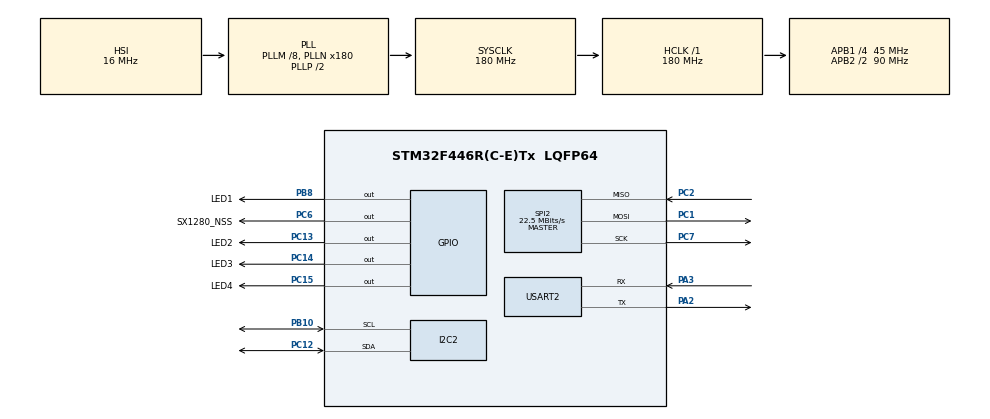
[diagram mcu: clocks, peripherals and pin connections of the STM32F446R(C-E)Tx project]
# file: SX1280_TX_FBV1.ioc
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Mcu.Family=STM32F4
Mcu.Name=STM32F446R(C-E)Tx
Mcu.Package=LQFP64
NVIC.PriorityGroup=NVIC_PRIORITYGROUP_4
PA13.Mode=Serial_Wire
PA13.Signal=SYS_JTMS-SWDIO
PA14.Mode=Serial_Wire
PA14.Signal=SYS_JTCK-SWCLK
PA2.Mode=Asynchronous
PA2.Signal=USART2_TX
PA3.Mode=Asynchronous
PA3.Signal=USART2_RX
PB10.GPIO_Pu=GPIO_PULLUP
PB10.Mode=I2C
PB10.Signal=I2C2_SCL
PB8.GPIO_Label=LED1
PB8.PinState=GPIO_PIN_SET
PB8.Signal=GPIO_Output
PC1.Mode=Full_Duplex_Master
PC1.Signal=SPI2_MOSI
PC12.GPIO_Pu=GPIO_PULLUP
PC12.Mode=I2C
PC12.Signal=I2C2_SDA
PC13.GPIO_Label=LED2
PC13.PinState=GPIO_PIN_SET
PC13.Signal=GPIO_Output
PC14-OSC32_IN.GPIO_Label=LED3
PC14-OSC32_IN.PinState=GPIO_PIN_SET
PC14-OSC32_IN.Signal=GPIO_Output
PC15-OSC32_OUT.GPIO_Label=LED4
PC15-OSC32_OUT.PinState=GPIO_PIN_SET
PC15-OSC32_OUT.Signal=GPIO_Output
PC2.Mode=Full_Duplex_Master
PC2.Signal=SPI2_MISO
PC6.GPIO_Label=SX1280_NSS
PC6.GPIO_Speed=GPIO_SPEED_FREQ_VERY_HIGH
PC6.PinState=GPIO_PIN_SET
PC6.Signal=GPIO_Output
PC7.Mode=Full_Duplex_Master
PC7.Signal=SPI2_SCK
PH0-OSC_IN.Mode=HSE-External-Oscillator
PH0-OSC_IN.Signal=RCC_OSC_IN
PH1-OSC_OUT.Mode=HSE-External-Oscillator
PH1-OSC_OUT.Signal=RCC_OSC_OUT
ProjectManager.HeapSize=0x2000
ProjectManager.StackSize=0x4000
ProjectManager.TargetToolchain=STM32CubeIDE
RCC.AHBFreq_Value=180000000
RCC.APB1CLKDivider=RCC_HCLK_DIV4
RCC.APB1Freq_Value=45000000
RCC.APB1TimFreq_Value=90000000
RCC.APB2CLKDivider=RCC_HCLK_DIV2
RCC.APB2Freq_Value=90000000
RCC.APB2TimFreq_Value=180000000
RCC.CortexFreq_Value=180000000
RCC.HCLKFreq_Value=180000000
RCC.HSE_VALUE=16000000
RCC.PLLM=8
RCC.PLLN=180
RCC.SYSCLKFreq_VALUE=180000000
RCC.SYSCLKSource=RCC_SYSCLKSOURCE_PLLCLK
RCC.USBFreq_Value=180000000
RCC.VCOOutputFreq_Value=360000000
SPI2.CalculateBaudRate=22.5 MBits/s
SPI2.Direction=SPI_DIRECTION_2LINES
SPI2.Mode=SPI_MODE_MASTER
SPI2.VirtualType=VM_MASTER
TIM1.Prescaler=179
USART2.VirtualMode=VM_ASYNC
VP_TIM1_VS_ClockSourceINT.Mode=Internal
board=custom

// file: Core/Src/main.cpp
/* USER CODE BEGIN Header */
/**
  ******************************************************************************
  * @file           : main.c
  * @brief          : Main program body
  ******************************************************************************
  * @attention
  *
  * Copyright (c) 2023 STMicroelectronics.
  * All rights reserved.
  *
  * This software is licensed under terms that can be found in the LICENSE file
  * in the root directory of this software component.
  * If no LICENSE file comes with this software, it is provided AS-IS.
  *
  ******************************************************************************
  */
/* USER CODE END Header */
#include "main.h"

/* USER CODE BEGIN Includes */
#include "SX128x_formal_board.h"
/* USER CODE END Includes */

I2C_HandleTypeDef hi2c2;

SPI_HandleTypeDef hspi2;

TIM_HandleTypeDef htim1;

UART_HandleTypeDef huart2;

/* USER CODE BEGIN PV */
SX128x_formal_board sx1280;
int irq_timeout_times = 0;
/* USER CODE END PV */

void SystemClock_Config(void);
static void MX_GPIO_Init(void);
static void MX_I2C2_Init(void);
static void MX_SPI2_Init(void);
static void MX_TIM1_Init(void);
static void MX_USART2_UART_Init(void);
/* USER CODE BEGIN PFP */
static void SPI1_TRANSCEIVER(uint8_t* tx, uint8_t* rx, uint8_t lengh)
{
	uint8_t temp;
	do
	{
		HAL_I2C_Mem_Read (&hi2c2, 0x78, 0x00, I2C_MEMADD_SIZE_8BIT, &temp, 1, 10);
	}
	while(temp & 0x04);
	HAL_GPIO_WritePin(SX1280_NSS_GPIO_Port, SX1280_NSS_Pin, GPIO_PIN_RESET);
//	for (int i = 0; i < 1000; i ++);
	HAL_Delay(10);
	HAL_SPI_TransmitReceive(&hspi2, tx, rx, lengh, 10);
	HAL_GPIO_WritePin(SX1280_NSS_GPIO_Port, SX1280_NSS_Pin, GPIO_PIN_SET);
}
/* USER CODE END PFP */

int main(void)
{

  /* MCU Configuration--------------------------------------------------------*/

  /* Reset of all peripherals, Initializes the Flash interface and the Systick. */
  HAL_Init();

  /* Configure the system clock */
  SystemClock_Config();

  /* Initialize all configured peripherals */
  MX_GPIO_Init();
  MX_I2C2_Init();
  MX_SPI2_Init();
  MX_TIM1_Init();
  MX_USART2_UART_Init();
  /* USER CODE BEGIN 2 */
  HAL_TIM_Base_Start(&htim1);

//  sx1280.CommonTranceiverSetting();

  HAL_StatusTypeDef rv;

  uint8_t rx[10] = {};
  uint8_t tx[10] = {};

  tx[0] = 0xF7;
  rv = HAL_I2C_Mem_Write(&hi2c2, 0x78, 0x03, I2C_MEMADD_SIZE_8BIT, tx, 1, 10);
  rv = HAL_I2C_Mem_Read (&hi2c2, 0x78, 0x00, I2C_MEMADD_SIZE_8BIT, rx, 1, 10);

  // reset
//  HAL_GPIO_WritePin(SX1280_RST_GPIO_Port, SX1280_RST_Pin, GPIO_PIN_SET);
  tx[0] = 0xFF;
  rv = HAL_I2C_Mem_Write(&hi2c2, 0x78, 0x01, I2C_MEMADD_SIZE_8BIT, tx, 1, 10);
  rv = HAL_I2C_Mem_Read (&hi2c2, 0x78, 0x00, I2C_MEMADD_SIZE_8BIT, rx, 1, 10);
  HAL_Delay(100);
//  HAL_GPIO_WritePin(SX1280_RST_GPIO_Port, SX1280_RST_Pin, GPIO_PIN_RESET);
  tx[0] = 0xF7;
  rv = HAL_I2C_Mem_Write(&hi2c2, 0x78, 0x01, I2C_MEMADD_SIZE_8BIT, tx, 1, 10);
  rv = HAL_I2C_Mem_Read (&hi2c2, 0x78, 0x00, I2C_MEMADD_SIZE_8BIT, rx, 1, 10);
  HAL_Delay(100);
//  HAL_GPIO_WritePin(SX1280_RST_GPIO_Port, SX1280_RST_Pin, GPIO_PIN_SET);
  tx[0] = 0xFF;
  rv = HAL_I2C_Mem_Write(&hi2c2, 0x78, 0x01, I2C_MEMADD_SIZE_8BIT, tx, 1, 10);
  rv = HAL_I2C_Mem_Read (&hi2c2, 0x78, 0x00, I2C_MEMADD_SIZE_8BIT, rx, 1, 10);

  //===========================================
  // common transceiver setting for LoRa
  //===========================================
  //===========================================
  // common transceiver setting for LoRa
  //===========================================

  HAL_Delay(10);
  // setstandby(stdby_rc)
  *(uint32_t*)tx = 0x80 | 0x01 << 8;
  SPI1_TRANSCEIVER(tx, rx, 2);

  HAL_Delay(10);
  // setpackettype(packet_type_lora)
  *(uint32_t*)tx = 0x8A | 0x01 << 8; // LoRa mode
  SPI1_TRANSCEIVER(tx, rx, 2);

  HAL_Delay(10);
  // setrffrequency(rfFrequency)
  *(uint32_t*)tx = 0x86 | 0xB8 << 8 | 0x9D << 16 | 0x89 << 24;
  SPI1_TRANSCEIVER(tx, rx, 4);

  HAL_Delay(10);
  // setbufferbaseaddress()
  *(uint32_t*)tx = 0x8F | 0x80 << 8 | 0x00 << 16;
  SPI1_TRANSCEIVER(tx, rx, 3);

  HAL_Delay(10);
  // setmodulationparams(modparam1, modparam2, modparam3)
  *(uint32_t*)tx = 0x8B | 0x70 << 8 | 0x18 << 16 | 0x01 << 24;
  SPI1_TRANSCEIVER(tx, rx, 4);

  HAL_Delay(10);
  // setpacketparams(pktparam1, pktparam2, pktparam3, pktparam4, pktparam5)
  *(uint32_t*)tx = 0x8C | 0x0C << 8 | 0x80 << 16 | 0x08 << 24;
  *(uint32_t*)(tx+4) = 0x20 | 0x40 << 8 | 0x00 << 16 | 0x00 << 24;
  SPI1_TRANSCEIVER(tx, rx, 8);

  HAL_Delay(10);
  sx1280.TxSetting();
  /* USER CODE END 2 */

  /* Infinite loop */
  /* USER CODE BEGIN WHILE */
  uint16_t begin, end;
  uint16_t time, time_temp;
  uint32_t counter = 0, tx_counter = 0;
  uint32_t temp_counter[2] = {0};

  char uart_buf[100];
  int uart_buf_len;
  uart_buf_len = sprintf(uart_buf, "SX1280 TX bit rate test\r\n");
  HAL_UART_Transmit(&huart2, (uint8_t *)uart_buf, uart_buf_len, 100);

  time_temp = HAL_GetTick();
  while (1)
  {
	  begin = __HAL_TIM_GET_COUNTER(&htim1);

	  temp_counter[0] = counter;
	  while(sx1280.TxBlocking((uint8_t*)temp_counter, 8))
	  {
		  tx_counter ++;
	  }

	  end = __HAL_TIM_GET_COUNTER(&htim1);
	  time = end - begin;
    /* USER CODE END WHILE */

    /* USER CODE BEGIN 3 */
	  counter ++;
	  tx_counter ++;
	  if (counter >= 100)
	  {
		  time_temp = HAL_GetTick() - time_temp;

		  float bps = 100*8*8*1000./time_temp;

		  uart_buf_len = sprintf(uart_buf, "Bit Rate: %15.5f bps, IRQ Timeout Times: %3d, count: %3d \r\n", bps, irq_timeout_times, tx_counter);
		  HAL_UART_Transmit(&huart2, (uint8_t *)uart_buf, uart_buf_len, 100);
		  HAL_GPIO_TogglePin(LED2_GPIO_Port, LED2_Pin);

		  counter = 0;
		  tx_counter = 0;
		  irq_timeout_times = 0;
		  time_temp = HAL_GetTick();
	  }
  }
  /* USER CODE END 3 */
}

void SystemClock_Config(void)
{
  RCC_OscInitTypeDef RCC_OscInitStruct = {0};
  RCC_ClkInitTypeDef RCC_ClkInitStruct = {0};

  /** Configure the main internal regulator output voltage
  */
  __HAL_RCC_PWR_CLK_ENABLE();
  __HAL_PWR_VOLTAGESCALING_CONFIG(PWR_REGULATOR_VOLTAGE_SCALE1);

  /** Initializes the RCC Oscillators according to the specified parameters
  * in the RCC_OscInitTypeDef structure.
  */
  RCC_OscInitStruct.OscillatorType = RCC_OSCILLATORTYPE_HSI;
  RCC_OscInitStruct.HSIState = RCC_HSI_ON;
  RCC_OscInitStruct.HSICalibrationValue = RCC_HSICALIBRATION_DEFAULT;
  RCC_OscInitStruct.PLL.PLLState = RCC_PLL_ON;
  RCC_OscInitStruct.PLL.PLLSource = RCC_PLLSOURCE_HSI;
  RCC_OscInitStruct.PLL.PLLM = 8;
  RCC_OscInitStruct.PLL.PLLN = 180;
  RCC_OscInitStruct.PLL.PLLP = RCC_PLLP_DIV2;
  RCC_OscInitStruct.PLL.PLLQ = 2;
  RCC_OscInitStruct.PLL.PLLR = 2;
  if (HAL_RCC_OscConfig(&RCC_OscInitStruct) != HAL_OK)
  {
    Error_Handler();
  }

  /** Activate the Over-Drive mode
  */
  if (HAL_PWREx_EnableOverDrive() != HAL_OK)
  {
    Error_Handler();
  }

  /** Initializes the CPU, AHB and APB buses clocks
  */
  RCC_ClkInitStruct.ClockType = RCC_CLOCKTYPE_HCLK|RCC_CLOCKTYPE_SYSCLK
                              |RCC_CLOCKTYPE_PCLK1|RCC_CLOCKTYPE_PCLK2;
  RCC_ClkInitStruct.SYSCLKSource = RCC_SYSCLKSOURCE_PLLCLK;
  RCC_ClkInitStruct.AHBCLKDivider = RCC_SYSCLK_DIV1;
  RCC_ClkInitStruct.APB1CLKDivider = RCC_HCLK_DIV4;
  RCC_ClkInitStruct.APB2CLKDivider = RCC_HCLK_DIV2;

  if (HAL_RCC_ClockConfig(&RCC_ClkInitStruct, FLASH_LATENCY_5) != HAL_OK)
  {
    Error_Handler();
  }
}

static void MX_I2C2_Init(void)
{

  hi2c2.Instance = I2C2;
  hi2c2.Init.ClockSpeed = 100000;
  hi2c2.Init.DutyCycle = I2C_DUTYCYCLE_2;
  hi2c2.Init.OwnAddress1 = 0;
  hi2c2.Init.AddressingMode = I2C_ADDRESSINGMODE_7BIT;
  hi2c2.Init.DualAddressMode = I2C_DUALADDRESS_DISABLE;
  hi2c2.Init.OwnAddress2 = 0;
  hi2c2.Init.GeneralCallMode = I2C_GENERALCALL_DISABLE;
  hi2c2.Init.NoStretchMode = I2C_NOSTRETCH_DISABLE;
  if (HAL_I2C_Init(&hi2c2) != HAL_OK)
  {
    Error_Handler();
  }

}

static void MX_SPI2_Init(void)
{

  /* SPI2 parameter configuration*/
  hspi2.Instance = SPI2;
  hspi2.Init.Mode = SPI_MODE_MASTER;
  hspi2.Init.Direction = SPI_DIRECTION_2LINES;
  hspi2.Init.DataSize = SPI_DATASIZE_8BIT;
  hspi2.Init.CLKPolarity = SPI_POLARITY_LOW;
  hspi2.Init.CLKPhase = SPI_PHASE_1EDGE;
  hspi2.Init.NSS = SPI_NSS_SOFT;
  hspi2.Init.BaudRatePrescaler = SPI_BAUDRATEPRESCALER_2;
  hspi2.Init.FirstBit = SPI_FIRSTBIT_MSB;
  hspi2.Init.TIMode = SPI_TIMODE_DISABLE;
  hspi2.Init.CRCCalculation = SPI_CRCCALCULATION_DISABLE;
  hspi2.Init.CRCPolynomial = 10;
  if (HAL_SPI_Init(&hspi2) != HAL_OK)
  {
    Error_Handler();
  }

}

static void MX_TIM1_Init(void)
{

  TIM_ClockConfigTypeDef sClockSourceConfig = {0};
  TIM_MasterConfigTypeDef sMasterConfig = {0};

  htim1.Instance = TIM1;
  htim1.Init.Prescaler = 179;
  htim1.Init.CounterMode = TIM_COUNTERMODE_UP;
  htim1.Init.Period = 65535;
  htim1.Init.ClockDivision = TIM_CLOCKDIVISION_DIV1;
  htim1.Init.RepetitionCounter = 0;
  htim1.Init.AutoReloadPreload = TIM_AUTORELOAD_PRELOAD_DISABLE;
  if (HAL_TIM_Base_Init(&htim1) != HAL_OK)
  {
    Error_Handler();
  }
  sClockSourceConfig.ClockSource = TIM_CLOCKSOURCE_INTERNAL;
  if (HAL_TIM_ConfigClockSource(&htim1, &sClockSourceConfig) != HAL_OK)
  {
    Error_Handler();
  }
  sMasterConfig.MasterOutputTrigger = TIM_TRGO_RESET;
  sMasterConfig.MasterSlaveMode = TIM_MASTERSLAVEMODE_DISABLE;
  if (HAL_TIMEx_MasterConfigSynchronization(&htim1, &sMasterConfig) != HAL_OK)
  {
    Error_Handler();
  }

}

static void MX_USART2_UART_Init(void)
{

  huart2.Instance = USART2;
  huart2.Init.BaudRate = 115200;
  huart2.Init.WordLength = UART_WORDLENGTH_8B;
  huart2.Init.StopBits = UART_STOPBITS_1;
  huart2.Init.Parity = UART_PARITY_NONE;
  huart2.Init.Mode = UART_MODE_TX_RX;
  huart2.Init.HwFlowCtl = UART_HWCONTROL_NONE;
  huart2.Init.OverSampling = UART_OVERSAMPLING_16;
  if (HAL_UART_Init(&huart2) != HAL_OK)
  {
    Error_Handler();
  }

}

static void MX_GPIO_Init(void)
{
  GPIO_InitTypeDef GPIO_InitStruct = {0};

  /* GPIO Ports Clock Enable */
  __HAL_RCC_GPIOC_CLK_ENABLE();
  __HAL_RCC_GPIOH_CLK_ENABLE();
  __HAL_RCC_GPIOA_CLK_ENABLE();
  __HAL_RCC_GPIOB_CLK_ENABLE();

  /*Configure GPIO pin Output Level */
  HAL_GPIO_WritePin(GPIOC, LED2_Pin|LED3_Pin|LED4_Pin|SX1280_NSS_Pin, GPIO_PIN_SET);

  /*Configure GPIO pin Output Level */
  HAL_GPIO_WritePin(LED1_GPIO_Port, LED1_Pin, GPIO_PIN_SET);

  /*Configure GPIO pins : LED2_Pin LED3_Pin LED4_Pin */
  GPIO_InitStruct.Pin = LED2_Pin|LED3_Pin|LED4_Pin;
  GPIO_InitStruct.Mode = GPIO_MODE_OUTPUT_PP;
  GPIO_InitStruct.Pull = GPIO_NOPULL;
  GPIO_InitStruct.Speed = GPIO_SPEED_FREQ_LOW;
  HAL_GPIO_Init(GPIOC, &GPIO_InitStruct);

  /*Configure GPIO pin : SX1280_NSS_Pin */
  GPIO_InitStruct.Pin = SX1280_NSS_Pin;
  GPIO_InitStruct.Mode = GPIO_MODE_OUTPUT_PP;
  GPIO_InitStruct.Pull = GPIO_NOPULL;
  GPIO_InitStruct.Speed = GPIO_SPEED_FREQ_VERY_HIGH;
  HAL_GPIO_Init(SX1280_NSS_GPIO_Port, &GPIO_InitStruct);

  /*Configure GPIO pin : LED1_Pin */
  GPIO_InitStruct.Pin = LED1_Pin;
  GPIO_InitStruct.Mode = GPIO_MODE_OUTPUT_PP;
  GPIO_InitStruct.Pull = GPIO_NOPULL;
  GPIO_InitStruct.Speed = GPIO_SPEED_FREQ_LOW;
  HAL_GPIO_Init(LED1_GPIO_Port, &GPIO_InitStruct);

}

/* USER CODE BEGIN 4 */
void HAL_Delay(uint32_t Delay)
{
	uint32_t ms = 0;
	uint16_t tick = __HAL_TIM_GET_COUNTER(&htim1);
	do
	{
		if (__HAL_TIM_GET_COUNTER(&htim1) - tick >= 1000)
		{
			tick = __HAL_TIM_GET_COUNTER(&htim1);
			ms ++;
		}
	}while(ms < Delay);
}
/* USER CODE END 4 */

void Error_Handler(void)
{
  /* USER CODE BEGIN Error_Handler_Debug */
  /* User can add his own implementation to report the HAL error return state */
  __disable_irq();
  while (1)
  {
	  HAL_Delay(500);
	  HAL_GPIO_TogglePin(LED1_GPIO_Port, LED1_Pin);
  }
  /* USER CODE END Error_Handler_Debug */
}
